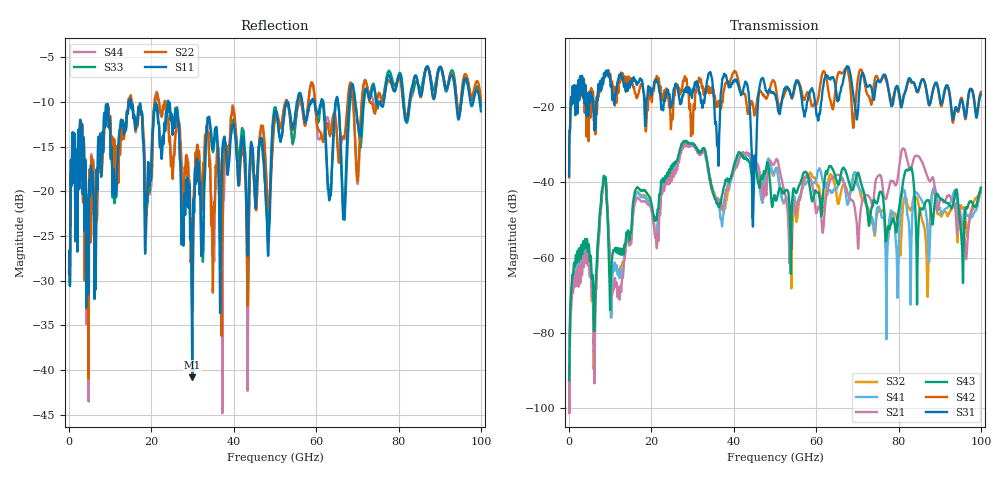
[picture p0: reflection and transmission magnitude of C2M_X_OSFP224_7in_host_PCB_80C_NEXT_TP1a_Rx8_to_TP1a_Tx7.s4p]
# GHz S RI R 45
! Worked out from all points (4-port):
!   4000 points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, 25 MHz to 100 GHz, reference 45 ohm
!   strongest paths, dB at 25 MHz, 25.02 GHz, 50.02 GHz, 75.03 GHz, 100 GHz:
!     S31: -38.3, -19.1, -16.6, -12.8, -16.6
!     S42: -38.6, -22.1, -13.7, -12.5, -15.9
!     S43: -92.5, -36.1, -43.8, -44.5, -41.3
!     S21: -89.4, -39.0, -34.7, -38.3, -42.6
!     S41: -92.6, -37.5, -36.7, -46.5, -41.6
!     S32: -91.9, -37.7, -36.8, -47.6, -41.9
!   lowest |S11| = -40.8 dB at 29.93 GHz (marker M1), VSWR 1.02, Z = 44.5 + j0.625 ohm
!   |S11| at or under -10 dB: start of sweep to 14.46 GHz; 15.05 GHz to 23.96 GHz (8.909 GHz wide, 45.7 % of centre); 24.06 GHz to 52.76 GHz (28.69 GHz wide, 74.7 % of centre) (the widest 3 of 18)
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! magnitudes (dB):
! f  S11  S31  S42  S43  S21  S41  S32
! 25 MHz  -29.1  -38.3  -38.6  -92.5  -89.4  -92.6  -91.9
! 6.225 GHz  -31.7  -26.1  -18.6  -77.8  -86.4  -86.9  -76.7
! 8.525 GHz  -11.3  -10.9  -12.2  -38.3  -39.2  -38.8  -38.8
! 12.22 GHz  -13.5  -11.4  -11.8  -58.4  -71.1  -65.3  -63.5
! 29.93 GHz  -40.8  -17.0  -23.4  -29.7  -30.3  -29.9  -30.2
! 44.9 GHz  -18.7  -35.3  -21.7  -38.3  -38.3  -40.6  -38.8
! 100 GHz  -11.0  -16.6  -15.9  -41.3  -42.6  -41.6  -41.9
